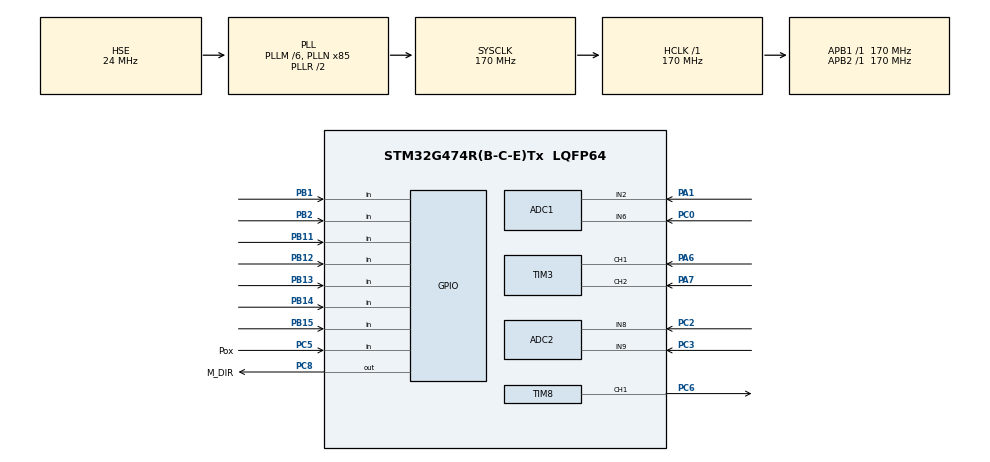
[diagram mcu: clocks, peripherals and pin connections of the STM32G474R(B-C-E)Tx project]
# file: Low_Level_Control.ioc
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ADC1.Channel-2\#ChannelRegularConversion=ADC_CHANNEL_2
ADC1.ContinuousConvMode=ENABLE
ADC1.DMAContinuousRequests=ENABLE
ADC1.NbrOfConversionFlag=1
ADC1.OffsetNumber-2\#ChannelRegularConversion=ADC_OFFSET_NONE
ADC1.Rank-2\#ChannelRegularConversion=1
ADC1.SamplingTime-2\#ChannelRegularConversion=ADC_SAMPLETIME_640CYCLES_5
ADC1.master=1
ADC2.Channel-1\#ChannelRegularConversion=ADC_CHANNEL_8
ADC2.Channel-2\#ChannelRegularConversion=ADC_CHANNEL_9
ADC2.ContinuousConvMode=ENABLE
ADC2.DMAContinuousRequests=ENABLE
ADC2.NbrOfConversion=2
ADC2.NbrOfConversionFlag=1
ADC2.OffsetNumber-1\#ChannelRegularConversion=ADC_OFFSET_NONE
ADC2.OffsetNumber-2\#ChannelRegularConversion=ADC_OFFSET_NONE
ADC2.Rank-1\#ChannelRegularConversion=1
ADC2.Rank-2\#ChannelRegularConversion=2
ADC2.SamplingTime-1\#ChannelRegularConversion=ADC_SAMPLETIME_640CYCLES_5
ADC2.SamplingTime-2\#ChannelRegularConversion=ADC_SAMPLETIME_640CYCLES_5
Dma.ADC1.1.Direction=DMA_PERIPH_TO_MEMORY
Dma.ADC1.1.EventEnable=DISABLE
Dma.ADC1.1.Instance=DMA1_Channel2
Dma.ADC1.1.MemDataAlignment=DMA_MDATAALIGN_HALFWORD
Dma.ADC1.1.MemInc=DMA_MINC_ENABLE
Dma.ADC1.1.Mode=DMA_CIRCULAR
Dma.ADC1.1.PeriphDataAlignment=DMA_PDATAALIGN_HALFWORD
Dma.ADC1.1.PeriphInc=DMA_PINC_DISABLE
Dma.ADC1.1.Polarity=HAL_DMAMUX_REQ_GEN_RISING
Dma.ADC1.1.Priority=DMA_PRIORITY_LOW
Dma.ADC1.1.RequestNumber=1
Dma.ADC1.1.SignalID=NONE
Dma.ADC1.1.SyncEnable=DISABLE
Dma.ADC1.1.SyncPolarity=HAL_DMAMUX_SYNC_NO_EVENT
Dma.ADC1.1.SyncRequestNumber=1
Dma.ADC1.1.SyncSignalID=NONE
Dma.ADC2.0.Direction=DMA_PERIPH_TO_MEMORY
Dma.ADC2.0.EventEnable=DISABLE
Dma.ADC2.0.Instance=DMA1_Channel1
Dma.ADC2.0.MemDataAlignment=DMA_MDATAALIGN_HALFWORD
Dma.ADC2.0.MemInc=DMA_MINC_ENABLE
Dma.ADC2.0.Mode=DMA_CIRCULAR
Dma.ADC2.0.PeriphDataAlignment=DMA_PDATAALIGN_HALFWORD
Dma.ADC2.0.PeriphInc=DMA_PINC_DISABLE
Dma.ADC2.0.Polarity=HAL_DMAMUX_REQ_GEN_RISING
Dma.ADC2.0.Priority=DMA_PRIORITY_LOW
Dma.ADC2.0.RequestNumber=1
Dma.ADC2.0.SignalID=NONE
Dma.ADC2.0.SyncEnable=DISABLE
Dma.ADC2.0.SyncPolarity=HAL_DMAMUX_SYNC_NO_EVENT
Dma.ADC2.0.SyncRequestNumber=1
Dma.ADC2.0.SyncSignalID=NONE
Dma.Request0=ADC2
Dma.Request1=ADC1
Mcu.Family=STM32G4
Mcu.Name=STM32G474R(B-C-E)Tx
Mcu.Package=LQFP64
NUCLEO-G474RE.Bsp_Common_DEMO=true
NVIC.DMA1_Channel1_IRQn=true\:0\:0\:false\:false\:true\:false\:true\:true
NVIC.DMA1_Channel2_IRQn=true\:0\:0\:false\:false\:true\:false\:true\:true
NVIC.PriorityGroup=NVIC_PRIORITYGROUP_4
NVIC.TIM6_DAC_IRQn=true\:0\:0\:false\:false\:true\:true\:true\:true
PA1.Mode=IN2-Single-Ended
PA1.Signal=ADC1_IN2
PA13.GPIO_Label=T_SWDIO
PA13.Signal=SYS_JTMS-SWDIO
PA14.GPIO_Label=T_SWCLK
PA14.Signal=SYS_JTCK-SWCLK
PA2.GPIO_Label=LPUART1_TX [STLINKV3E_VCP_RX]
PA2.Signal=LPUART1_TX
PA3.GPIO_Label=LPUART1_RX [STLINKV3E_VCP_TX]
PA3.Signal=LPUART1_RX
PA6.Signal=S_TIM3_CH1
PA7.Signal=S_TIM3_CH2
PB1.Signal=GPIO_Input
PB11.Signal=GPIO_Input
PB12.Signal=GPIO_Input
PB13.Signal=GPIO_Input
PB14.Signal=GPIO_Input
PB15.Signal=GPIO_Input
PB2.Signal=GPIO_Input
PB3.GPIO_Label=T_SWO
PB3.Signal=SYS_JTDO-SWO
PC0.Mode=IN6-Single-Ended
PC0.Signal=ADC1_IN6
PC14-OSC32_IN.GPIO_Label=RCC_OSC32_IN
PC14-OSC32_IN.Signal=RCC_OSC32_IN
PC15-OSC32_OUT.GPIO_Label=RCC_OSC32_OUT
PC15-OSC32_OUT.Signal=RCC_OSC32_OUT
PC2.Mode=IN8-Single-Ended
PC2.Signal=ADC2_IN8
PC3.Mode=IN9-Single-Ended
PC3.Signal=ADC2_IN9
PC5.GPIO_Label=Pox
PC5.Signal=GPIO_Input
PC6.Signal=S_TIM8_CH1
PC8.GPIO_Label=M_DIR
PC8.Signal=GPIO_Output
PF0-OSC_IN.GPIO_Label=RCC_OSC_IN
PF0-OSC_IN.Mode=HSE-External-Oscillator
PF0-OSC_IN.Signal=RCC_OSC_IN
PF1-OSC_OUT.GPIO_Label=RCC_OSC_OUT
PF1-OSC_OUT.Mode=HSE-External-Oscillator
PF1-OSC_OUT.Signal=RCC_OSC_OUT
ProjectManager.HeapSize=0x200
ProjectManager.StackSize=0x400
ProjectManager.TargetToolchain=STM32CubeIDE
RCC.ADC12Freq_Value=170000000
RCC.ADC345Freq_Value=170000000
RCC.AHBFreq_Value=170000000
RCC.APB1Freq_Value=170000000
RCC.APB1TimFreq_Value=170000000
RCC.APB2Freq_Value=170000000
RCC.APB2TimFreq_Value=170000000
RCC.CortexFreq_Value=170000000
RCC.EXTERNAL_CLOCK_VALUE=12288000
RCC.HCLKFreq_Value=170000000
RCC.HSE_VALUE=24000000
RCC.HSI48_VALUE=48000000
RCC.HSI_VALUE=16000000
RCC.LSE_VALUE=32768
RCC.PLLM=RCC_PLLM_DIV6
RCC.PLLN=85
RCC.PLLSourceVirtual=RCC_PLLSOURCE_HSE
RCC.RTCClockSelection=RCC_RTCCLKSOURCE_LSE
RCC.SYSCLKFreq_VALUE=170000000
RCC.SYSCLKSource=RCC_SYSCLKSOURCE_PLLCLK
RCC.USBFreq_Value=170000000
RCC.VCOOutputFreq_Value=340000000
SH.S_TIM3_CH1.0=TIM3_CH1,Encoder_Interface
SH.S_TIM3_CH2.0=TIM3_CH2,Encoder_Interface
SH.S_TIM8_CH1.0=TIM8_CH1,PWM Generation1 CH1
TIM3.EncoderMode=TIM_ENCODERMODE_TI12
TIM6.PeriodNoDither=9
TIM6.Prescaler=16
TIM8.AutoReloadPreload=TIM_AUTORELOAD_PRELOAD_DISABLE
TIM8.Channel-PWM\ Generation1\ CH1=TIM_CHANNEL_1
TIM8.PeriodNoDither=999
TIM8.Prescaler=849
VP_NUCLEO-G474RE_VS_BSP_COMMON.Mode=COMMON
VP_SYS_VS_DBSignals.Mode=DisableDeadBatterySignals
VP_TIM6_VS_ClockSourceINT.Mode=Enable_Timer
VP_TIM8_VS_ClockSourceINT.Mode=Internal
board=NUCLEO-G474RE

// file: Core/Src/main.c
/* USER CODE BEGIN Header */
/**
  ******************************************************************************
  * @file           : main.c
  * @brief          : Main program body
  ******************************************************************************
  * @attention
  *
  * Copyright (c) 2026 STMicroelectronics.
  * All rights reserved.
  *
  * This software is licensed under terms that can be found in the LICENSE file
  * in the root directory of this software component.
  * If no LICENSE file comes with this software, it is provided AS-IS.
  *
  ******************************************************************************
  */
/* USER CODE END Header */
#include "main.h"
#include "adc.h"
#include "dma.h"
#include "tim.h"
#include "gpio.h"

/* USER CODE BEGIN Includes */
#include "math.h"
#include "motor.h"
#include "joy.h"
/* USER CODE END Includes */

/* USER CODE BEGIN PD */
#define ADC_BUF_SIZE 10
#define ADC_BUF_SIZE_INV 0.1f

#define ENCODER_PPR 2048 // PPR
#define ENCODER_RESOLUTION (ENCODER_PPR * 4)
#define ENCODER_UPDATE_PERIOD 0.001f //s

#define SPEED_CONVERSION_FACTOR ((2.0f * M_PI) / ((float)ENCODER_RESOLUTION * ENCODER_UPDATE_PERIOD))

#define ADC_TO_CURRENT_LOAD_RATIO 0.05f
#define ADC_CURRENT_LOAD_OFFSET 2048 // offset before convert
/* USER CODE END PD */

__IO uint32_t BspButtonState = BUTTON_RELEASED;

/* USER CODE BEGIN PV */
volatile uint16_t adc_buffer[ADC_BUF_SIZE];
float adc_AVG;
volatile int32_t current_encoder = 0;
volatile int32_t previous_encoder = 0;
volatile float omega = 0.0f; // rad/s
volatile float current_load = 0.0f; //Amp

Motor_TypeDef myMotor1;

float dutycycle = 0;

int pox = 0;

Joy_TypeDef myJoy;
volatile uint16_t joy_adc_buffer[2];
/* USER CODE END PV */

void SystemClock_Config(void);
/* USER CODE BEGIN PFP */
void Current_Update();
void Velocity_Update();
/* USER CODE END PFP */

int main(void)
{

  /* MCU Configuration--------------------------------------------------------*/

  /* Reset of all peripherals, Initializes the Flash interface and the Systick. */
  HAL_Init();

  /* Configure the system clock */
  SystemClock_Config();

  /* Initialize all configured peripherals */
  MX_GPIO_Init();
  MX_DMA_Init();
  MX_TIM3_Init();
  MX_TIM8_Init();
  MX_TIM6_Init();
  MX_ADC2_Init();
  MX_ADC1_Init();
  /* USER CODE BEGIN 2 */
  HAL_TIM_Base_Start(&htim8);
  Motor_Init(&myMotor1, &htim8, TIM_CHANNEL_1, M_DIR_GPIO_Port, M_DIR_Pin, 1000);

  HAL_ADC_Start_DMA(&hadc1, (uint32_t*)adc_buffer, ADC_BUF_SIZE);
  HAL_TIM_Encoder_Start(&htim3, TIM_CHANNEL_ALL);

  Joy_Init(&myJoy);
  HAL_ADC_Start_DMA(&hadc2, (uint32_t*)joy_adc_buffer, 2);

  HAL_TIM_Base_Start_IT(&htim6);
  /* USER CODE END 2 */

  /* Infinite loop */
  while (1)
  {

    /* USER CODE BEGIN 3 */
//	  Motor_SetPWM(&myMotor1, dutycycle);
//	  HAL_Delay(10);
  }
  /* USER CODE END 3 */
}

void SystemClock_Config(void)
{
  RCC_OscInitTypeDef RCC_OscInitStruct = {0};
  RCC_ClkInitTypeDef RCC_ClkInitStruct = {0};

  /** Configure the main internal regulator output voltage
  */
  HAL_PWREx_ControlVoltageScaling(PWR_REGULATOR_VOLTAGE_SCALE1_BOOST);

  /** Initializes the RCC Oscillators according to the specified parameters
  * in the RCC_OscInitTypeDef structure.
  */
  RCC_OscInitStruct.OscillatorType = RCC_OSCILLATORTYPE_HSE;
  RCC_OscInitStruct.HSEState = RCC_HSE_ON;
  RCC_OscInitStruct.PLL.PLLState = RCC_PLL_ON;
  RCC_OscInitStruct.PLL.PLLSource = RCC_PLLSOURCE_HSE;
  RCC_OscInitStruct.PLL.PLLM = RCC_PLLM_DIV6;
  RCC_OscInitStruct.PLL.PLLN = 85;
  RCC_OscInitStruct.PLL.PLLP = RCC_PLLP_DIV2;
  RCC_OscInitStruct.PLL.PLLQ = RCC_PLLQ_DIV2;
  RCC_OscInitStruct.PLL.PLLR = RCC_PLLR_DIV2;
  if (HAL_RCC_OscConfig(&RCC_OscInitStruct) != HAL_OK)
  {
    Error_Handler();
  }

  /** Initializes the CPU, AHB and APB buses clocks
  */
  RCC_ClkInitStruct.ClockType = RCC_CLOCKTYPE_HCLK|RCC_CLOCKTYPE_SYSCLK
                              |RCC_CLOCKTYPE_PCLK1|RCC_CLOCKTYPE_PCLK2;
  RCC_ClkInitStruct.SYSCLKSource = RCC_SYSCLKSOURCE_PLLCLK;
  RCC_ClkInitStruct.AHBCLKDivider = RCC_SYSCLK_DIV1;
  RCC_ClkInitStruct.APB1CLKDivider = RCC_HCLK_DIV1;
  RCC_ClkInitStruct.APB2CLKDivider = RCC_HCLK_DIV1;

  if (HAL_RCC_ClockConfig(&RCC_ClkInitStruct, FLASH_LATENCY_4) != HAL_OK)
  {
    Error_Handler();
  }
}

/* USER CODE BEGIN 4 */
void HAL_TIM_PeriodElapsedCallback(TIM_HandleTypeDef *htim){
	if(htim->Instance == TIM6){
//		TIM6 Working on 100kHz
		// 1. Current Update Loop (Fast Loop)
		Current_Update();

		// 2. Velocity Update Loop (Slow Loop - 1kHz)
		static uint8_t speed_loop_counter = 0;
		speed_loop_counter++;
		if (speed_loop_counter >= 100)
		{
			Velocity_Update();
			speed_loop_counter = 0;
		}
		dutycycle = myJoy.axes_X;
		Motor_SetPWM(&myMotor1, dutycycle);
		Joy_Update(&myJoy, joy_adc_buffer[1], joy_adc_buffer[0]);
		if (HAL_GPIO_ReadPin(Pox_GPIO_Port, Pox_Pin) == GPIO_PIN_SET){
			pox = 1;
		}else {
			pox = 0;
		}
	}
}

void Current_Update(){
	uint32_t sum_raw_current = 0;
	// หาผลรวมจาก Buffer
	for (uint8_t i = 0; i < ADC_BUF_SIZE; i++)
	{
		sum_raw_current += adc_buffer[i];
	}

	// ใช้การคูณ (0.1f) แทนการหาร (/ 10) เพื่อลด CPU Clock Cycles
	adc_AVG = (float)sum_raw_current * ADC_BUF_SIZE_INV;

	// แปลงเป็นกระแส (Amp)
//	current_load = (adc_AVG - ADC_CURRENT_LOAD_OFFSET) * ADC_TO_CURRENT_LOAD_RATIO;
	current_load = -(0.0146 * adc_AVG - 30.0702);
}

void Velocity_Update(){
	// อ่านค่า Encoder ปัจจุบัน (Cast เป็น int16_t เพื่อจัดการ Overflow)
	current_encoder = __HAL_TIM_GET_COUNTER(&htim3);

	// หา Delta Pulse
	int32_t delta_pulse = current_encoder - previous_encoder;

	uint16_t MULTI_TURN_QEI_CNT = __HAL_TIM_GET_AUTORELOAD(&htim3);
	if(delta_pulse > MULTI_TURN_QEI_CNT / 2){
		delta_pulse -= MULTI_TURN_QEI_CNT;
	}else if(delta_pulse < -(MULTI_TURN_QEI_CNT /2)){
		delta_pulse += MULTI_TURN_QEI_CNT;
	}

	// คำนวณความเร็วเชิงมุม (rad/s) ด้วยค่าคงที่ที่คำนวณไว้แล้ว
	omega = (float)delta_pulse * SPEED_CONVERSION_FACTOR;

	// เก็บค่าไว้ใช้รอบถัดไป
	previous_encoder = current_encoder;
}
/* USER CODE END 4 */

void Error_Handler(void)
{
  __disable_irq();
  while (1)
  {
  }
}
